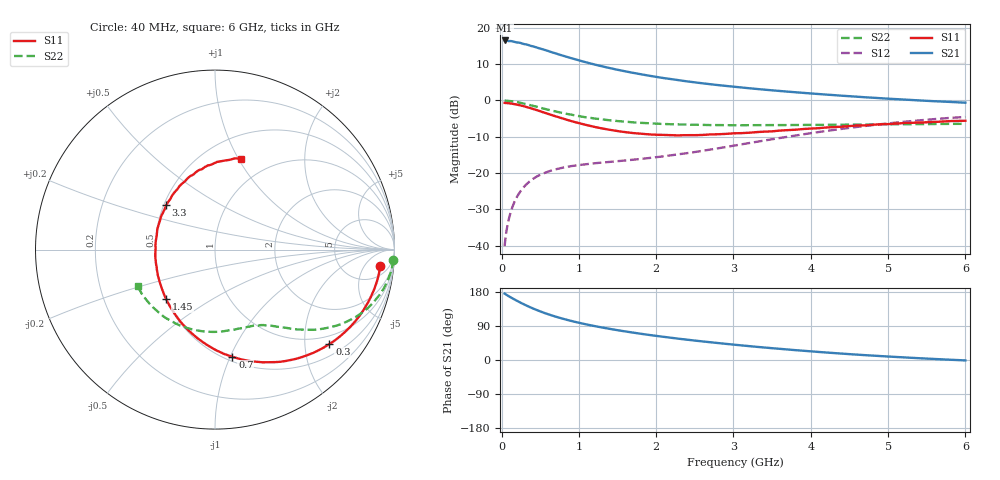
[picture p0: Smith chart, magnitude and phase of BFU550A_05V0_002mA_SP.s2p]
! Filename:  P:\Prog\Test\Noise\ATS_data\Testdata_Net\03 Spar\BFU550A_APG2013_35_C05_05p0V_002mA_SP_CM01_D.s2p
! Date/Time: Tue 16/Apr/2013 15:10:27
! BFU550A_APG2013_35_C05_05p0V_1to35mA_SP_CM01_Bias2_R.s2p
! MDIF S-parameter v. bias file
! BFU550A_APG2013_35_C05_05p0V_1to35mA_SP_CM01
! Date/time Mon Apr 15 15:41:37 2013
! VAR V_out= 5.0010
! VAR I_out= 2.0000
! VAR V_in= 0.7990
! VAR I_in= 0.0208
! Device data file deembeded for feedlines and parallel
! Original file: \03 Spar\BFU550A_APG2013_35_C05_05p0V_002mA_SP_CM01_R.s2p
! Feed-files: PR017V01_150413_Feed1.s2p, PR017V01_150413_Feed2.s2p
! Parallel-file: PR017V01_150413_Par.s2p
# MHz S MA R 50
!  Freq-MHz  S11-mag  S11-arg  S21-mag  S21-arg  S12-mag  S12-arg  S22-mag  S22-arg
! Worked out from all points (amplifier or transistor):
!   98 points, 40 MHz to 6 GHz, reference 50 ohm
!   highest |S21| = 16.5 dB at 40 MHz (marker M1)
!   |S21| within 3 dB of that: start of sweep to 616.9 MHz
!   unconditionally stable (mu >= 1): 2.035 GHz to 2.844 GHz
!   at 300 MHz: K = 0.21, MSG = 19.5 dB, |S12| = -23.6 dB
!   at 1.6 GHz: K = 0.89, MSG = 12.3 dB, |S12| = -16.5 dB
!   at 6 GHz: K = 0.87, MSG = 2.0 dB, |S12| = -4.5 dB
!   S11 on the Smith chart (normalised r, x): 40 MHz: 10, -13; 300 MHz: 0.77, -2.58; 700 MHz: 0.54, -1.02; 1.45 GHz: 0.50, -0.32; 3.3 GHz: 0.52, +0.29; 6 GHz: 0.73, +1.02
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40  0.9263 -5.5  6.71 175.2  0.009868 86.9  0.9958 -3.3
80  0.9195 -11.1  6.648 170.0  0.01982 83.2  0.9898 -6.5
120  0.9082 -16.6  6.59 165.2  0.0293 79.9  0.9795 -9.7
160  0.8942 -21.9  6.449 160.7  0.03852 76.7  0.9665 -12.7
240  0.8578 -32.3  6.219 151.9  0.05518 71.0  0.9311 -18.3
300  0.8268 -39.5  5.961 145.9  0.06628 67.2  0.9007 -22.1
360  0.793 -46.7  5.75 140.2  0.07623 63.7  0.8698 -25.5
460  0.7345 -57.7  5.349 131.6  0.09016 58.8  0.818 -30.4
550  0.682 -67.0  5.005 124.5  0.09991 55.1  0.7707 -34.2
700  0.6053 -80.8  4.454 114.4  0.1127 50.6  0.7064 -39.2
850  0.5406 -93.3  3.974 105.8  0.1221 47.7  0.6525 -43.0
1050  0.4733 -108.3  3.453 96.0  0.1309 45.7  0.5969 -47.1
1250  0.4228 -122.0  3.043 87.7  0.1382 44.9  0.5579 -50.5
1450  0.387 -134.8  2.721 80.4  0.1443 45.5  0.5275 -53.5
1750  0.3525 -152.7  2.352 70.8  0.1548 47.6  0.4966 -57.9
2050  0.3363 -169.1  2.073 62.4  0.1679 50.4  0.4772 -62.5
2500  0.3331 169.2  1.778 51.2  0.1951 54.4  0.4638 -70.2
3100  0.3554 144.7  1.512 38.6  0.2486 57.3  0.4566 -81.8
3300  0.3672 137.9  1.442 34.8  0.27 57.4  0.4576 -86.0
4100  0.4155 113.8  1.228 21.3  0.3674 53.4  0.4616 -104.8
5200  0.4885 88.7  1.032 7.0  0.509 41.5  0.4701 -133.0
6000  0.526 74.2  0.9327 -1.1  0.594 30.8  0.4769 -154.8
